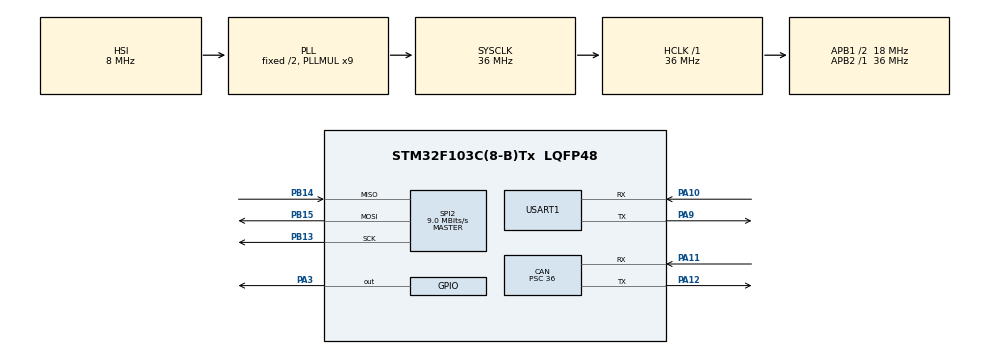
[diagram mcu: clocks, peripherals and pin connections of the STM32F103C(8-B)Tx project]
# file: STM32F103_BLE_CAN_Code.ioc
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CAN.BS1=CAN_BS1_2TQ
CAN.CalculateBaudRate=125000
CAN.CalculateTimeBit=8000
CAN.CalculateTimeQuantum=2000.0
CAN.Prescaler=36
Mcu.Family=STM32F1
Mcu.Name=STM32F103C(8-B)Tx
Mcu.Package=LQFP48
NVIC.CAN1_RX1_IRQn=true\:0\:0\:false\:false\:true\:true\:true\:true
NVIC.PriorityGroup=NVIC_PRIORITYGROUP_4
PA10.Mode=Asynchronous
PA10.Signal=USART1_RX
PA11.Mode=CAN_Activate
PA11.Signal=CAN_RX
PA12.Mode=CAN_Activate
PA12.Signal=CAN_TX
PA13.Mode=Serial_Wire
PA13.Signal=SYS_JTMS-SWDIO
PA14.Mode=Serial_Wire
PA14.Signal=SYS_JTCK-SWCLK
PA3.Signal=GPIO_Output
PA9.Mode=Asynchronous
PA9.Signal=USART1_TX
PB13.Mode=Full_Duplex_Master
PB13.Signal=SPI2_SCK
PB14.Mode=Full_Duplex_Master
PB14.Signal=SPI2_MISO
PB15.Mode=Full_Duplex_Master
PB15.Signal=SPI2_MOSI
PD0-OSC_IN.Mode=HSE-External-Oscillator
PD0-OSC_IN.Signal=RCC_OSC_IN
PD1-OSC_OUT.Mode=HSE-External-Oscillator
PD1-OSC_OUT.Signal=RCC_OSC_OUT
ProjectManager.HeapSize=0x200
ProjectManager.StackSize=0x400
ProjectManager.TargetToolchain=STM32CubeIDE
RCC.AHBFreq_Value=36000000
RCC.APB1CLKDivider=RCC_HCLK_DIV2
RCC.APB1Freq_Value=18000000
RCC.APB1TimFreq_Value=36000000
RCC.APB2Freq_Value=36000000
RCC.APB2TimFreq_Value=36000000
RCC.HCLKFreq_Value=36000000
RCC.PLLMUL=RCC_PLL_MUL9
RCC.SYSCLKFreq_VALUE=36000000
RCC.SYSCLKSource=RCC_SYSCLKSOURCE_PLLCLK
RCC.USBFreq_Value=36000000
SPI2.BaudRatePrescaler=SPI_BAUDRATEPRESCALER_2
SPI2.CalculateBaudRate=9.0 MBits/s
SPI2.Direction=SPI_DIRECTION_2LINES
SPI2.Mode=SPI_MODE_MASTER
SPI2.VirtualType=VM_MASTER
USART1.VirtualMode=VM_ASYNC
board=custom

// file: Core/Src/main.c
/* USER CODE BEGIN Header */
/**
  ******************************************************************************
  * @file           : main.c
  * @brief          : Main program body
  ******************************************************************************
  * @attention
  *
  * Copyright (c) 2025 STMicroelectronics.
  * All rights reserved.
  *
  * This software is licensed under terms that can be found in the LICENSE file
  * in the root directory of this software component.
  * If no LICENSE file comes with this software, it is provided AS-IS.
  *
  ******************************************************************************
  */
/* USER CODE END Header */
#include "main.h"

CAN_HandleTypeDef hcan;

SPI_HandleTypeDef hspi2;

UART_HandleTypeDef huart1;

/* USER CODE BEGIN PV */
CAN_RxHeaderTypeDef canRxHeader;
CAN_TxHeaderTypeDef canTxHeader;
CAN_FilterTypeDef sFilterConfig;
uint8_t canTxData[8];
uint8_t canRxData[8];
uint32_t rcvdData;
uint32_t canTxMailBox;
/* USER CODE END PV */

void SystemClock_Config(void);
static void MX_GPIO_Init(void);
static void MX_CAN_Init(void);
static void MX_USART1_UART_Init(void);
static void MX_SPI2_Init(void);

/* USER CODE BEGIN 0 */
void HAL_CAN_RxFifo1MsgPendingCallback(CAN_HandleTypeDef *hcan)
{
  HAL_CAN_GetRxMessage(hcan, CAN_RX_FIFO1, &canRxHeader, canRxData);
  if(canRxHeader.ExtId == 0x18feef00){

  }
  rcvdData = canRxData[0];
}
/* USER CODE END 0 */

int main(void)
{

  /* MCU Configuration--------------------------------------------------------*/

  /* Reset of all peripherals, Initializes the Flash interface and the Systick. */
  HAL_Init();

  /* Configure the system clock */
  SystemClock_Config();

  /* Initialize all configured peripherals */
  MX_GPIO_Init();
  MX_CAN_Init();
  MX_USART1_UART_Init();
  MX_SPI2_Init();
  /* USER CODE BEGIN 2 */
  canTxHeader.DLC = 0x08;
  canTxHeader.ExtId = 0x18feee00;;
  canTxHeader.IDE = CAN_ID_EXT;
  canTxHeader.RTR = CAN_RTR_DATA;
  canTxHeader.StdId = 0;
  canTxHeader.TransmitGlobalTime = DISABLE;

  HAL_CAN_Start(&hcan);

  uint16_t coolantTemp = 0;

 // Configure the filter
  sFilterConfig.FilterActivation = CAN_FILTER_ENABLE;
  sFilterConfig.FilterFIFOAssignment = CAN_FILTER_FIFO1;
  sFilterConfig.FilterMode = CAN_FILTERMODE_IDMASK;
  sFilterConfig.FilterIdHigh = 0; //0x6A5<<5;
  sFilterConfig.FilterIdLow = 0;
  sFilterConfig.FilterMaskIdHigh = 0; //0x7FF<<5; // SET 0 to unfilter
  sFilterConfig.FilterMaskIdLow = 0;
  sFilterConfig.FilterScale = CAN_FILTERSCALE_32BIT;
  HAL_CAN_ConfigFilter(&hcan, &sFilterConfig);

  // Activate the notification
  HAL_CAN_ActivateNotification(&hcan, CAN_IT_RX_FIFO1_MSG_PENDING);

  /* USER CODE END 2 */

  /* Infinite loop */
  /* USER CODE BEGIN WHILE */
  while (1)
  {
	  coolantTemp++;
	  canTxHeader.ExtId = 0x18feee00;  // Frame ID
	  for (uint8_t i=0; i < 8; i++){
		  canTxData[i] = 0xff;
	  }

	  canTxData[0] = coolantTemp;
	  HAL_CAN_AddTxMessage(&hcan, &canTxHeader, canTxData, &canTxMailBox);

	  if(rcvdData){
		  HAL_UART_Transmit(&huart1, &rcvdData, 4, 0);
		  rcvdData = 0;
	  }
	  HAL_Delay(1000);
    /* USER CODE END WHILE */

  }
}

void SystemClock_Config(void)
{
  RCC_OscInitTypeDef RCC_OscInitStruct = {0};
  RCC_ClkInitTypeDef RCC_ClkInitStruct = {0};

  /** Initializes the RCC Oscillators according to the specified parameters
  * in the RCC_OscInitTypeDef structure.
  */
  RCC_OscInitStruct.OscillatorType = RCC_OSCILLATORTYPE_HSI;
  RCC_OscInitStruct.HSIState = RCC_HSI_ON;
  RCC_OscInitStruct.HSICalibrationValue = RCC_HSICALIBRATION_DEFAULT;
  RCC_OscInitStruct.PLL.PLLState = RCC_PLL_ON;
  RCC_OscInitStruct.PLL.PLLSource = RCC_PLLSOURCE_HSI_DIV2;
  RCC_OscInitStruct.PLL.PLLMUL = RCC_PLL_MUL9;
  if (HAL_RCC_OscConfig(&RCC_OscInitStruct) != HAL_OK)
  {
    Error_Handler();
  }

  /** Initializes the CPU, AHB and APB buses clocks
  */
  RCC_ClkInitStruct.ClockType = RCC_CLOCKTYPE_HCLK|RCC_CLOCKTYPE_SYSCLK
                              |RCC_CLOCKTYPE_PCLK1|RCC_CLOCKTYPE_PCLK2;
  RCC_ClkInitStruct.SYSCLKSource = RCC_SYSCLKSOURCE_PLLCLK;
  RCC_ClkInitStruct.AHBCLKDivider = RCC_SYSCLK_DIV1;
  RCC_ClkInitStruct.APB1CLKDivider = RCC_HCLK_DIV2;
  RCC_ClkInitStruct.APB2CLKDivider = RCC_HCLK_DIV1;

  if (HAL_RCC_ClockConfig(&RCC_ClkInitStruct, FLASH_LATENCY_1) != HAL_OK)
  {
    Error_Handler();
  }
}

static void MX_CAN_Init(void)
{

  hcan.Instance = CAN1;
  hcan.Init.Prescaler = 36;
  hcan.Init.Mode = CAN_MODE_NORMAL;
  hcan.Init.SyncJumpWidth = CAN_SJW_1TQ;
  hcan.Init.TimeSeg1 = CAN_BS1_2TQ;
  hcan.Init.TimeSeg2 = CAN_BS2_1TQ;
  hcan.Init.TimeTriggeredMode = DISABLE;
  hcan.Init.AutoBusOff = DISABLE;
  hcan.Init.AutoWakeUp = DISABLE;
  hcan.Init.AutoRetransmission = DISABLE;
  hcan.Init.ReceiveFifoLocked = DISABLE;
  hcan.Init.TransmitFifoPriority = DISABLE;
  if (HAL_CAN_Init(&hcan) != HAL_OK)
  {
    Error_Handler();
  }

}

static void MX_SPI2_Init(void)
{

  /* SPI2 parameter configuration*/
  hspi2.Instance = SPI2;
  hspi2.Init.Mode = SPI_MODE_MASTER;
  hspi2.Init.Direction = SPI_DIRECTION_2LINES;
  hspi2.Init.DataSize = SPI_DATASIZE_8BIT;
  hspi2.Init.CLKPolarity = SPI_POLARITY_LOW;
  hspi2.Init.CLKPhase = SPI_PHASE_1EDGE;
  hspi2.Init.NSS = SPI_NSS_SOFT;
  hspi2.Init.BaudRatePrescaler = SPI_BAUDRATEPRESCALER_2;
  hspi2.Init.FirstBit = SPI_FIRSTBIT_MSB;
  hspi2.Init.TIMode = SPI_TIMODE_DISABLE;
  hspi2.Init.CRCCalculation = SPI_CRCCALCULATION_DISABLE;
  hspi2.Init.CRCPolynomial = 10;
  if (HAL_SPI_Init(&hspi2) != HAL_OK)
  {
    Error_Handler();
  }

}

static void MX_USART1_UART_Init(void)
{

  huart1.Instance = USART1;
  huart1.Init.BaudRate = 115200;
  huart1.Init.WordLength = UART_WORDLENGTH_8B;
  huart1.Init.StopBits = UART_STOPBITS_1;
  huart1.Init.Parity = UART_PARITY_NONE;
  huart1.Init.Mode = UART_MODE_TX_RX;
  huart1.Init.HwFlowCtl = UART_HWCONTROL_NONE;
  huart1.Init.OverSampling = UART_OVERSAMPLING_16;
  if (HAL_UART_Init(&huart1) != HAL_OK)
  {
    Error_Handler();
  }

}

static void MX_GPIO_Init(void)
{
  GPIO_InitTypeDef GPIO_InitStruct = {0};

  /* GPIO Ports Clock Enable */
  __HAL_RCC_GPIOD_CLK_ENABLE();
  __HAL_RCC_GPIOA_CLK_ENABLE();
  __HAL_RCC_GPIOB_CLK_ENABLE();

  /*Configure GPIO pin Output Level */
  HAL_GPIO_WritePin(GPIOA, GPIO_PIN_3, GPIO_PIN_RESET);

  /*Configure GPIO pin : PA3 */
  GPIO_InitStruct.Pin = GPIO_PIN_3;
  GPIO_InitStruct.Mode = GPIO_MODE_OUTPUT_PP;
  GPIO_InitStruct.Pull = GPIO_NOPULL;
  GPIO_InitStruct.Speed = GPIO_SPEED_FREQ_LOW;
  HAL_GPIO_Init(GPIOA, &GPIO_InitStruct);

}

void Error_Handler(void)
{
  __disable_irq();
  while (1)
  {
  }
}
